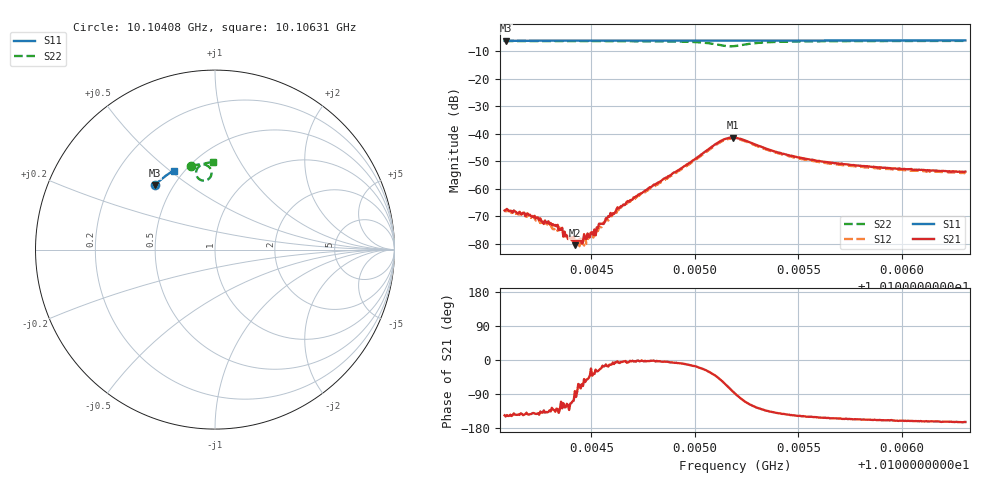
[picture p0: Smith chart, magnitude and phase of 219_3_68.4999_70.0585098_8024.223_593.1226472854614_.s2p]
#  HZ  S  RI  R  50.00
! Rohde & Schwarz Vector Network Analyzer
! Rohde-Schwarz,ZNB20-2Port,1311601062101988,3.16
! Created: UTC 3/20/2024, 5:13:35 PM
! freq[Hz]  re:S11  im:S11  re:S21  im:S21  re:S12  im:S12  re:S22  im:S22
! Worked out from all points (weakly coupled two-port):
!   401 points, 10.10408 GHz to 10.10631 GHz, reference 50 ohm
!   highest |S21| = -41.34 dB at 10.10518 GHz (marker M1); lowest = -80.5 dB at 10.10442 GHz (marker M2)
!   lowest |S11| = -6.2 dB at 10.10409 GHz (marker M3), VSWR 2.93, Z = 19.8 + j18.8 ohm
!   |S11| at or under -10 dB: nowhere
!   |S22| runs from -8.2 to -6.2 dB; largest |S21 - S12| = 0.00093
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1.0104081e10  -0.3356 0.3585  -0.000337 -0.000227  -0.000315 -0.00024  -0.1324 0.4646
1.0104087e10  -0.3353 0.3586  -0.00036 -0.000215  -0.000311 -0.000241  -0.132 0.4649
1.0104231e10  -0.3292 0.365  -0.00023 -0.000178  -0.000203 -0.000176  -0.1218 0.4678
1.0104326e10  -0.3249 0.369  -0.000161 -0.000153  -0.000106 -0.000167  -0.1148 0.4696
1.0104354e10  -0.3237 0.3701  -6.15e-05 -0.00017  -9.64e-05 -0.000147  -0.1127 0.4703
1.0104376e10  -0.3227 0.3711  -8.15e-05 -0.000117  -6.06e-05 -0.00011  -0.111 0.4706
1.0104421e10  -0.3208 0.373  1.29e-05 -9.36e-05  -2.83e-05 -0.000104  -0.1075 0.4713
1.0104432e10  -0.3203 0.3735  1.41e-05 -0.000118  2.79e-05 -0.000104  -0.1066 0.4717
1.0104454e10  -0.3192 0.3743  4.53e-05 -9.13e-05  4.17e-05 -0.000114  -0.105 0.472
1.0104471e10  -0.3185 0.3751  6.75e-05 -0.000109  7.96e-05 -0.000103  -0.1036 0.4724
1.0104504e10  -0.3169 0.3764  0.000122 -0.000108  0.000145 -6.41e-05  -0.1008 0.4729
1.0104521e10  -0.3161 0.377  0.00013 -6.15e-05  0.000136 -5.6e-05  -0.0994 0.4732
1.0104537e10  -0.3155 0.3778  0.00021 -0.000104  0.000196 -4.95e-05  -0.0978 0.4733
1.0104643e10  -0.3106 0.382  0.000487 -4.23e-05  0.000458 -5.72e-06  -0.0882 0.4748
1.0104827e10  -0.3022 0.3894  0.00132 -7.45e-05  0.00129 2.88e-06  -0.0674 0.4752
1.0105116e10  -0.2883 0.4001  0.00473 -0.00529  0.00502 -0.00461  -0.0214 0.4129
1.0105183e10  -0.2853 0.4023  0.00108 -0.0085  0.00188 -0.00805  -0.0648 0.3841
1.0105194e10  -0.2848 0.4028  0.000231 -0.00852  0.00103 -0.00818  -0.0741 0.3858
1.0105395e10  -0.2756 0.4103  -0.00357 -0.00304  -0.00319 -0.00325  -0.0936 0.4583
1.0105567e10  -0.267 0.4166  -0.00295 -0.00169  -0.00265 -0.00186  -0.0725 0.4739
1.010594e10  -0.2481 0.4291  -0.00225 -0.000842  -0.00208 -0.000996  -0.0392 0.4837
1.0106307e10  -0.229 0.4406  -0.00198 -0.000583  -0.00183 -0.000704  -0.012 0.4872
